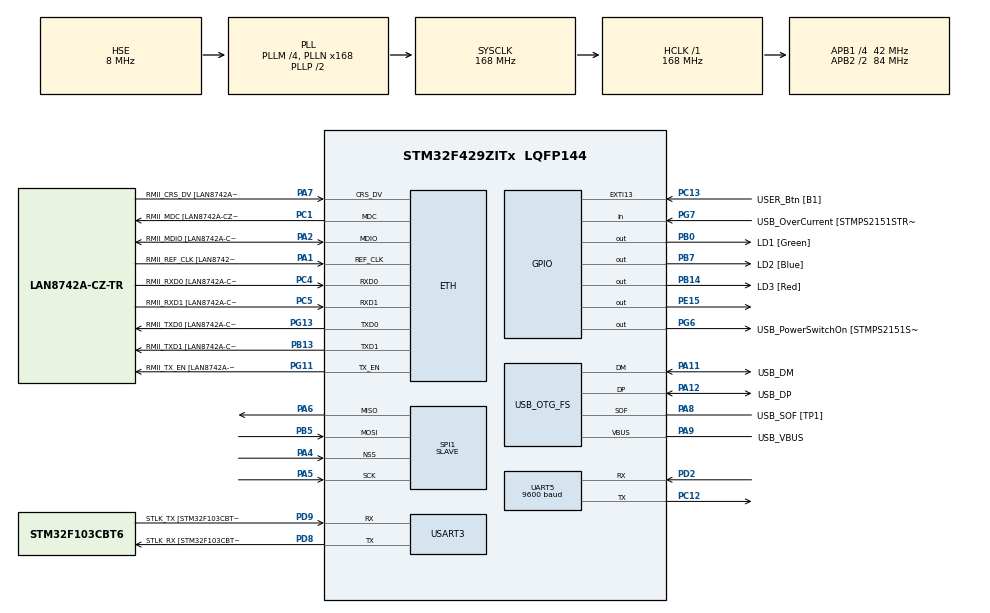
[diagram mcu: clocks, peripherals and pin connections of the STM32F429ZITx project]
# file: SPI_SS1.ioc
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ETH.MediaInterface=HAL_ETH_RMII_MODE
ETH.PHY_Name=LAN8742A_PHY_ADDRESS
ETH.PHY_Value=0
ETH.PhyAddress=0
Mcu.Family=STM32F4
Mcu.Name=STM32F429ZITx
Mcu.Package=LQFP144
NVIC.PriorityGroup=NVIC_PRIORITYGROUP_4
PA1.GPIO_Label=RMII_REF_CLK [LAN8742A-CZ-TR_REFCLK0]
PA1.Mode=RMII
PA1.Signal=ETH_REF_CLK
PA10.GPIO_Label=USB_ID
PA10.Signal=USB_OTG_FS_ID
PA11.GPIO_Label=USB_DM
PA11.Mode=Device_Only
PA11.Signal=USB_OTG_FS_DM
PA12.GPIO_Label=USB_DP
PA12.Mode=Device_Only
PA12.Signal=USB_OTG_FS_DP
PA13.GPIO_Label=TMS
PA13.Mode=Serial_Wire
PA13.Signal=SYS_JTMS-SWDIO
PA14.GPIO_Label=TCK
PA14.Mode=Serial_Wire
PA14.Signal=SYS_JTCK-SWCLK
PA2.GPIO_Label=RMII_MDIO [LAN8742A-CZ-TR_MDIO]
PA2.Mode=RMII
PA2.Signal=ETH_MDIO
PA4.Mode=NSS_Signal_Hard_Input
PA4.Signal=SPI1_NSS
PA5.Mode=Full_Duplex_Slave
PA5.Signal=SPI1_SCK
PA6.Mode=Full_Duplex_Slave
PA6.Signal=SPI1_MISO
PA7.GPIO_Label=RMII_CRS_DV [LAN8742A-CZ-TR_CRS_DV]
PA7.Mode=RMII
PA7.Signal=ETH_CRS_DV
PA8.GPIO_Label=USB_SOF [TP1]
PA8.Mode=Activate_SOF_FS
PA8.Signal=USB_OTG_FS_SOF
PA9.GPIO_Label=USB_VBUS
PA9.Mode=Activate_VBUS
PA9.Signal=USB_OTG_FS_VBUS
PB0.GPIO_Label=LD1 [Green]
PB0.Signal=GPIO_Output
PB13.GPIO_Label=RMII_TXD1 [LAN8742A-CZ-TR_TXD1]
PB13.Mode=RMII
PB13.Signal=ETH_TXD1
PB14.GPIO_Label=LD3 [Red]
PB14.Signal=GPIO_Output
PB5.Mode=Full_Duplex_Slave
PB5.Signal=SPI1_MOSI
PB7.GPIO_Label=LD2 [Blue]
PB7.Signal=GPIO_Output
PC1.GPIO_Label=RMII_MDC [LAN8742A-CZ-TR_MDC]
PC1.Mode=RMII
PC1.Signal=ETH_MDC
PC12.Mode=Asynchronous
PC12.Signal=UART5_TX
PC13.GPIO_Label=USER_Btn [B1]
PC13.Signal=GPXTI13
PC14/OSC32_IN.Mode=LSE-External-Oscillator
PC14/OSC32_IN.Signal=RCC_OSC32_IN
PC15/OSC32_OUT.Mode=LSE-External-Oscillator
PC15/OSC32_OUT.Signal=RCC_OSC32_OUT
PC4.GPIO_Label=RMII_RXD0 [LAN8742A-CZ-TR_RXD0]
PC4.Mode=RMII
PC4.Signal=ETH_RXD0
PC5.GPIO_Label=RMII_RXD1 [LAN8742A-CZ-TR_RXD1]
PC5.Mode=RMII
PC5.Signal=ETH_RXD1
PD2.Mode=Asynchronous
PD2.Signal=UART5_RX
PD8.GPIO_Label=STLK_RX [STM32F103CBT6_PA3]
PD8.Mode=Asynchronous
PD8.Signal=USART3_TX
PD9.GPIO_Label=STLK_TX [STM32F103CBT6_PA2]
PD9.Mode=Asynchronous
PD9.Signal=USART3_RX
PE15.Signal=GPIO_Output
PG11.GPIO_Label=RMII_TX_EN [LAN8742A-CZ-TR_TXEN]
PG11.Mode=RMII
PG11.Signal=ETH_TX_EN
PG13.GPIO_Label=RMII_TXD0 [LAN8742A-CZ-TR_TXD0]
PG13.Mode=RMII
PG13.Signal=ETH_TXD0
PG6.GPIO_Label=USB_PowerSwitchOn [STMPS2151STR_EN]
PG6.Signal=GPIO_Output
PG7.GPIO_Label=USB_OverCurrent [STMPS2151STR_FAULT]
PG7.Signal=GPIO_Input
PH0/OSC_IN.GPIO_Label=MCO [STM32F103CBT6_PA8]
PH0/OSC_IN.Mode=HSE-External-Clock-Source
PH0/OSC_IN.Signal=RCC_OSC_IN
PH1/OSC_OUT.Mode=HSE-External-Clock-Source
PH1/OSC_OUT.Signal=RCC_OSC_OUT
ProjectManager.HeapSize=0x200
ProjectManager.StackSize=0x400
ProjectManager.TargetToolchain=STM32CubeIDE
RCC.48MHZClocksFreq_Value=48000000
RCC.AHBFreq_Value=168000000
RCC.APB1CLKDivider=RCC_HCLK_DIV4
RCC.APB1Freq_Value=42000000
RCC.APB1TimFreq_Value=84000000
RCC.APB2CLKDivider=RCC_HCLK_DIV2
RCC.APB2Freq_Value=84000000
RCC.APB2TimCLKDivider=2
RCC.APB2TimFreq_Value=168000000
RCC.CortexFreq_Value=168000000
RCC.HCLKFreq_Value=168000000
RCC.HSE_VALUE=8000000
RCC.HSI_VALUE=16000000
RCC.PLLM=4
RCC.PLLMUL=RCC_PLL_MUL9
RCC.PLLN=168
RCC.PLLQ=7
RCC.PRESCALERUSB=RCC_USBCLKSOURCE_PLL_DIV1_5
RCC.SYSCLKFreq_VALUE=168000000
RCC.SYSCLKSource=RCC_SYSCLKSOURCE_PLLCLK
RCC.SYSCLKSourceVirtual=RCC_SYSCLKSOURCE_PLLCLK
RCC.USBFreq_Value=48000000
RCC.VCOOutputFreq_Value=336000000
SPI1.CLKPolarity=SPI_POLARITY_HIGH
SPI1.Direction=SPI_DIRECTION_2LINES
SPI1.Mode=SPI_MODE_SLAVE
SPI1.VirtualNSS=VM_NSSHARD
SPI1.VirtualType=VM_SLAVE
UART5.BaudRate=9600
UART5.OverSampling=UART_OVERSAMPLING_8
UART5.VirtualMode=Asynchronous
USART3.VirtualMode=VM_ASYNC
USB_OTG_FS.VirtualMode=Device_Only
board=NUCLEO-F429ZI

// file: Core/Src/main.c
/* USER CODE BEGIN Header */
/**
  ******************************************************************************
  * @file           : main.c
  * @brief          : Main program body
  ******************************************************************************
  * @attention
  *
  * Copyright (c) 2025 STMicroelectronics.
  * All rights reserved.
  *
  * This software is licen	    /*sed under terms that can be found in the LICENSE file
  * in the root directory of this software component.
  * If no LICENSE file comes with this software, it is provided AS-IS.
  *
  ******************************************************************************
  */
/* USER CODE END Header */
#include "main.h"
#include "eth.h"
#include "spi.h"
#include "usart.h"
#include "usb_otg.h"
#include "gpio.h"

/* USER CODE BEGIN Includes */
#include "dht11.h"
#include "stdarg.h"
/* USER CODE END Includes */

void SystemClock_Config(void);

/* USER CODE BEGIN 0 */
void DWT_Init(void)
{
	CoreDebug->DEMCR |= CoreDebug_DEMCR_TRCENA_Msk;   // Permission to use DWT
	DWT->CYCCNT = 0;                                  // Initialize counter
	DWT->CTRL |= DWT_CTRL_CYCCNTENA_Msk;              // enable counter
}
/* USER CODE END 0 */

int main(void)
{

  /* USER CODE BEGIN 1 */

	// SPI Tx & Rx buffer
	uint8_t txData[4] = {0};
	uint8_t rxData[4] = {0};

	// Variables to load the data from Sensors
	int dht_status = 0;
	uint8_t GAS_CONCENTRATION_READ[] = {0xff, 0x01, 0x86, 0x00, 0x00, 0x00, 0x00, 0x00, 0x79};
	uint8_t CALIBRATE_ZERO[] = {0xff, 0x01, 0x87, 0x00, 0x00, 0x00, 0x00, 0x00, 0x78};
	uint8_t Ret_CO2[9] = { 0 };
	uint16_t Concentration = 0;

  /* USER CODE END 1 */

  /* MCU Configuration--------------------------------------------------------*/

  /* Reset of all peripherals, Initializes the Flash interface and the Systick. */
  HAL_Init();

  /* Configure the system clock */
  SystemClock_Config();

  /* Initialize all configured peripherals */
  MX_GPIO_Init();
  MX_ETH_Init();
  MX_SPI1_Init();
  MX_USART3_UART_Init();
  MX_USB_OTG_FS_PCD_Init();
  MX_UART5_Init();
  /* USER CODE BEGIN 2 */
  DWT_Init();
  while (1)
  {
	  if (HAL_GPIO_ReadPin(GPIOA, GPIO_PIN_5)) {
		  Uart3_Printf("Temperature Humidity CO2 sensor start\r\n");
		  break;
	  }
	  Uart3_Printf("Wait for Master ST\r\n");
	  HAL_Delay(500);
  }

  /* USER CODE END 2 */

  /* Infinite loop */
  /* USER CODE BEGIN WHILE */

  while (1)
	{
		// Read the Humidity & Temperature
		dht_status = dht11_read();
		if (dht_status == 1)
		{
			txData[0] = Humidity;
			txData[1] = Temperature;
		}

		// Read the CO2 concentration
		HAL_UART_Transmit(&huart5, GAS_CONCENTRATION_READ, sizeof(GAS_CONCENTRATION_READ), HAL_MAX_DELAY);
		if (HAL_UART_Receive(&huart5, Ret_CO2, 9, HAL_MAX_DELAY) == HAL_OK){
			Concentration = Ret_CO2[2] * 256 + Ret_CO2[3];
			txData[2] = Ret_CO2[2];
			txData[3] = Ret_CO2[3];
		}
		else {
			Uart3_Printf("CO2 receive fail...\r\n");
		}

		// SPI transmission
		if(HAL_SPI_TransmitReceive(&hspi1, txData, rxData, 4, HAL_MAX_DELAY) == HAL_OK)
		{
			Uart3_Printf("DHT11 SPI sent humi=%d temp=%d ppm=%d\r\n", txData[0], txData[1], Concentration);
		}

    /* USER CODE END WHILE */

  }
}

void SystemClock_Config(void)
{
  RCC_OscInitTypeDef RCC_OscInitStruct = {0};
  RCC_ClkInitTypeDef RCC_ClkInitStruct = {0};

  /** Configure the main internal regulator output voltage
  */
  __HAL_RCC_PWR_CLK_ENABLE();
  __HAL_PWR_VOLTAGESCALING_CONFIG(PWR_REGULATOR_VOLTAGE_SCALE1);

  /** Initializes the RCC Oscillators according to the specified parameters
  * in the RCC_OscInitTypeDef structure.
  */
  RCC_OscInitStruct.OscillatorType = RCC_OSCILLATORTYPE_HSE;
  RCC_OscInitStruct.HSEState = RCC_HSE_BYPASS;
  RCC_OscInitStruct.PLL.PLLState = RCC_PLL_ON;
  RCC_OscInitStruct.PLL.PLLSource = RCC_PLLSOURCE_HSE;
  RCC_OscInitStruct.PLL.PLLM = 4;
  RCC_OscInitStruct.PLL.PLLN = 168;
  RCC_OscInitStruct.PLL.PLLP = RCC_PLLP_DIV2;
  RCC_OscInitStruct.PLL.PLLQ = 7;
  if (HAL_RCC_OscConfig(&RCC_OscInitStruct) != HAL_OK)
  {
    Error_Handler();
  }

  /** Initializes the CPU, AHB and APB buses clocks
  */
  RCC_ClkInitStruct.ClockType = RCC_CLOCKTYPE_HCLK|RCC_CLOCKTYPE_SYSCLK
                              |RCC_CLOCKTYPE_PCLK1|RCC_CLOCKTYPE_PCLK2;
  RCC_ClkInitStruct.SYSCLKSource = RCC_SYSCLKSOURCE_PLLCLK;
  RCC_ClkInitStruct.AHBCLKDivider = RCC_SYSCLK_DIV1;
  RCC_ClkInitStruct.APB1CLKDivider = RCC_HCLK_DIV4;
  RCC_ClkInitStruct.APB2CLKDivider = RCC_HCLK_DIV2;

  if (HAL_RCC_ClockConfig(&RCC_ClkInitStruct, FLASH_LATENCY_5) != HAL_OK)
  {
    Error_Handler();
  }
}

void Error_Handler(void)
{
  __disable_irq();
  while (1)
  {
  }
}
